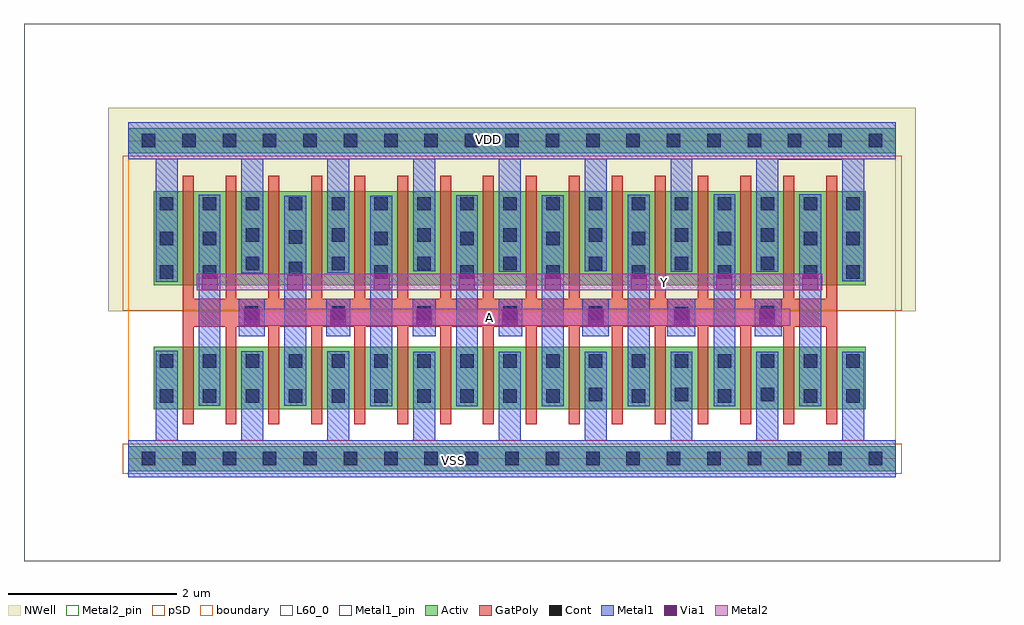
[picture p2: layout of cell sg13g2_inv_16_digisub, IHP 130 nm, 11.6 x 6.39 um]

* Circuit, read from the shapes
.subckt sg13g2_inv_16_digisub A VDD VSS Y
XM1 Y A VSS VSS sg13_lv_nmos w=0.74u l=0.13u m=16
XM2 Y A VDD VDD sg13_lv_pmos w=1.12u l=0.13u m=16
.ends

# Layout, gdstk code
import gdstk
lib = gdstk.Library(unit=1e-6, precision=1e-09)
def R(c, l, rs):  # rectangles x0, y0, x1, y1
    for r in rs: c.add(gdstk.rectangle(r[:2], r[2:], *l))
def A(c, l, x, y, w, h, nx, ny, dx, dy):  # array of equal rectangles
    R(c, l, [(x+i*dx, y+j*dy, x+i*dx+w, y+j*dy+h) for i in range(nx) for j in range(ny)])
def P(c, l, *ps):  # polygons
    for p in ps: c.add(gdstk.Polygon(p, *l))
Activ = (1, 0)
GatPoly = (5, 0)
Cont = (6, 0)
Metal1 = (8, 0)
Metal1_pin = (8, 2)
Metal2 = (10, 0)
Metal2_pin = (10, 2)
pSD = (14, 0)
Via1 = (19, 0)
NWell = (31, 0)
L60_0 = (60, 0)
boundary = (189, 4)

sg13g2_inv_16_digisub = lib.new_cell('sg13g2_inv_16_digisub')
R(sg13g2_inv_16_digisub, Activ, [(0,-0.15,9.12,0.15), (0.305,0.59,8.765,1.33), (0.305,2.06,8.765,3.18), (0,3.63,9.12,3.93)])
P(sg13g2_inv_16_digisub, GatPoly, [(8.425,3.36),(8.295,3.36),(8.295,1.9),(7.915,1.9),(7.915,3.36),(7.785,3.36),(7.785,1.9),(7.405,1.9),(7.405,3.36),(7.275,3.36),(7.275,1.9),(6.895,1.9),(6.895,3.36),(6.765,3.36),(6.765,1.9),(6.385,1.9),(6.385,3.36),(6.255,3.36),(6.255,1.9),(5.875,1.9),(5.875,3.36),(5.745,3.36),(5.745,1.9),(5.365,1.9),(5.365,3.36),(5.235,3.36),(5.235,1.9),(4.855,1.9),(4.855,3.36),(4.725,3.36),(4.725,1.9),(4.345,1.9),(4.345,3.36),(4.215,3.36),(4.215,1.9),(3.835,1.9),(3.835,3.36),(3.705,3.36),(3.705,1.9),(3.325,1.9),(3.325,3.36),(3.195,3.36),(3.195,1.9),(2.815,1.9),(2.815,3.36),(2.685,3.36),(2.685,1.9),(2.305,1.9),(2.305,3.36),(2.175,3.36),(2.175,1.9),(1.795,1.9),(1.795,3.36),(1.665,3.36),(1.665,1.9),(1.285,1.9),(1.285,3.36),(1.155,3.36),(1.155,1.9),(0.775,1.9),(0.775,3.36),(0.645,3.36),(0.645,0.41),(0.775,0.41),(0.775,1.57),(1.155,1.57),(1.155,0.41),(1.285,0.41),(1.285,1.57),(1.665,1.57),(1.665,0.41),(1.795,0.41),(1.795,1.57),(2.175,1.57),(2.175,0.41),(2.305,0.41),(2.305,1.57),(2.685,1.57),(2.685,0.41),(2.815,0.41),(2.815,1.57),(3.195,1.57),(3.195,0.41),(3.325,0.41),(3.325,1.57),(3.705,1.57),(3.705,0.41),(3.835,0.41),(3.835,1.57),(4.215,1.57),(4.215,0.41),(4.345,0.41),(4.345,1.57),(4.725,1.57),(4.725,0.41),(4.855,0.41),(4.855,1.57),(5.235,1.57),(5.235,0.41),(5.365,0.41),(5.365,1.57),(5.745,1.57),(5.745,0.41),(5.875,0.41),(5.875,1.57),(6.255,1.57),(6.255,0.41),(6.385,0.41),(6.385,1.57),(6.765,1.57),(6.765,0.41),(6.895,0.41),(6.895,1.57),(7.275,1.57),(7.275,0.41),(7.405,0.41),(7.405,1.57),(7.785,1.57),(7.785,0.41),(7.915,0.41),(7.915,1.57),(8.295,1.57),(8.295,0.41),(8.425,0.41)])
A(sg13g2_inv_16_digisub, Cont, 0.375, 0.665, 0.16, 0.16, 10, 1, 0.51, 0)
A(sg13g2_inv_16_digisub, Cont, 5.985, 0.665, 0.16, 0.16, 3, 1, 1.02, 0)
A(sg13g2_inv_16_digisub, Cont, 5.475, 0.68, 0.16, 0.16, 3, 1, 1.02, 0)
A(sg13g2_inv_16_digisub, Cont, 0.375, 1.08, 0.16, 0.16, 17, 2, 0.51, 1.87)
A(sg13g2_inv_16_digisub, Cont, 2.415, 1.65, 0.16, 0.16, 4, 1, 1.02, 0)
A(sg13g2_inv_16_digisub, Cont, 2.925, 2.14, 0.16, 0.16, 6, 2, 1.02, 0.395)
A(sg13g2_inv_16_digisub, Cont, 1.395, 2.24, 0.16, 0.16, 7, 2, 1.02, 0.34)
R(sg13g2_inv_16_digisub, Cont, [(0.16,-0.08,0.32,0.08), (0.16,-0.08,0.32,0.08), (0.64,-0.08,0.8,0.08), (0.64,-0.08,0.8,0.08), (1.12,-0.08,1.28,0.08), (1.12,-0.08,1.28,0.08), (1.6,-0.08,1.76,0.08), (1.6,-0.08,1.76,0.08), (2.08,-0.08,2.24,0.08), (2.08,-0.08,2.24,0.08), (2.56,-0.08,2.72,0.08), (2.56,-0.08,2.72,0.08), (3.04,-0.08,3.2,0.08), (3.04,-0.08,3.2,0.08), (3.52,-0.08,3.68,0.08), (3.52,-0.08,3.68,0.08), (4,-0.08,4.16,0.08), (4,-0.08,4.16,0.08), (4.48,-0.08,4.64,0.08), (4.48,-0.08,4.64,0.08), (4.96,-0.08,5.12,0.08), (4.96,-0.08,5.12,0.08), (5.44,-0.08,5.6,0.08), (5.44,-0.08,5.6,0.08), (5.92,-0.08,6.08,0.08), (5.92,-0.08,6.08,0.08), (6.4,-0.08,6.56,0.08), (6.4,-0.08,6.56,0.08), (6.88,-0.08,7.04,0.08), (6.88,-0.08,7.04,0.08), (7.36,-0.08,7.52,0.08), (7.36,-0.08,7.52,0.08), (7.84,-0.08,8,0.08), (7.84,-0.08,8,0.08), (8.32,-0.08,8.48,0.08), (8.32,-0.08,8.48,0.08), (8.8,-0.08,8.96,0.08), (8.8,-0.08,8.96,0.08), (8.535,0.665,8.695,0.825), (6.495,1.645,6.655,1.805), (1.385,1.65,1.545,1.81), (7.515,1.655,7.675,1.815), (0.375,2.14,0.535,2.3), (0.885,2.14,1.045,2.3), (8.535,2.14,8.695,2.3), (1.905,2.18,2.065,2.34), (0.375,2.535,0.535,2.695), (0.885,2.535,1.045,2.695), (8.535,2.535,8.695,2.695), (1.905,2.555,2.065,2.715), (0.16,3.7,0.32,3.86), (0.16,3.7,0.32,3.86), (0.64,3.7,0.8,3.86), (0.64,3.7,0.8,3.86), (1.12,3.7,1.28,3.86), (1.12,3.7,1.28,3.86), (1.6,3.7,1.76,3.86), (1.6,3.7,1.76,3.86), (2.08,3.7,2.24,3.86), (2.08,3.7,2.24,3.86), (2.56,3.7,2.72,3.86), (2.56,3.7,2.72,3.86), (3.04,3.7,3.2,3.86), (3.04,3.7,3.2,3.86), (3.52,3.7,3.68,3.86), (3.52,3.7,3.68,3.86), (4,3.7,4.16,3.86), (4,3.7,4.16,3.86), (4.48,3.7,4.64,3.86), (4.48,3.7,4.64,3.86), (4.96,3.7,5.12,3.86), (4.96,3.7,5.12,3.86), (5.44,3.7,5.6,3.86), (5.44,3.7,5.6,3.86), (5.92,3.7,6.08,3.86), (5.92,3.7,6.08,3.86), (6.4,3.7,6.56,3.86), (6.4,3.7,6.56,3.86), (6.88,3.7,7.04,3.86), (6.88,3.7,7.04,3.86), (7.36,3.7,7.52,3.86), (7.36,3.7,7.52,3.86), (7.84,3.7,8,3.86), (7.84,3.7,8,3.86), (8.32,3.7,8.48,3.86), (8.32,3.7,8.48,3.86), (8.8,3.7,8.96,3.86), (8.8,3.7,8.96,3.86)])
R(sg13g2_inv_16_digisub, Metal1, [(2.875,0.625,3.135,3.125), (3.895,0.625,4.155,3.13), (4.915,0.625,5.175,3.13), (5.935,0.625,6.195,3.135), (6.955,0.625,7.215,3.14), (7.975,0.625,8.235,3.14), (0.835,0.63,1.095,3.135), (1.855,0.63,2.115,3.125), (1.31,1.455,1.62,1.9), (2.35,1.455,2.64,1.9), (3.38,1.455,3.655,1.9), (4.4,1.455,4.68,1.9), (5.395,1.455,5.71,1.9), (6.405,1.455,6.74,1.9), (7.445,1.455,7.765,1.9)])
P(sg13g2_inv_16_digisub, Metal1, [(9.12,0.22),(8.745,0.22),(8.745,1.27),(8.485,1.27),(8.485,0.22),(7.725,0.22),(7.725,1.27),(7.465,1.27),(7.465,0.22),(6.705,0.22),(6.705,1.27),(6.445,1.27),(6.445,0.22),(5.685,0.22),(5.685,1.27),(5.425,1.27),(5.425,0.22),(4.665,0.22),(4.665,1.27),(4.405,1.27),(4.405,0.22),(3.645,0.22),(3.645,1.27),(3.385,1.27),(3.385,0.22),(2.625,0.22),(2.625,1.275),(2.365,1.275),(2.365,0.22),(1.605,0.22),(1.605,1.275),(1.345,1.275),(1.345,0.22),(0.585,0.22),(0.585,1.28),(0.325,1.28),(0.325,0.22),(0,0.22),(0,-0.22),(9.12,-0.22)],
  [(9.12,4),(0,4),(0,3.56),(0.325,3.56),(0.325,2.105),(0.585,2.105),(0.585,3.56),(1.345,3.56),(1.345,2.205),(1.605,2.205),(1.605,3.56),(2.365,3.56),(2.365,2.21),(2.625,2.21),(2.625,3.56),(3.385,3.56),(3.385,2.225),(3.645,2.225),(3.645,3.56),(4.405,3.56),(4.405,2.22),(4.665,2.22),(4.665,3.56),(5.425,3.56),(5.425,2.23),(5.685,2.23),(5.685,3.56),(6.445,3.56),(6.445,2.22),(6.705,2.22),(6.705,3.56),(7.465,3.56),(7.465,2.22),(7.725,2.22),(7.725,3.555),(8.485,3.555),(8.485,2.11),(8.745,2.11),(8.745,3.56),(9.12,3.56)])
R(sg13g2_inv_16_digisub, Metal1_pin, [(0,-0.22,9.12,0.22), (0,3.56,9.12,4)])
R(sg13g2_inv_16_digisub, Metal2, [(1.31,1.58,7.865,1.78), (0.815,2,8.25,2.2)])
R(sg13g2_inv_16_digisub, Metal2_pin, [(1.31,1.58,7.865,1.78), (0.815,2,8.25,2.2)])
R(sg13g2_inv_16_digisub, pSD, [(-0.065,-0.18,9.19,0.18), (-0.065,1.76,9.19,3.6)])
A(sg13g2_inv_16_digisub, Via1, 2.4, 1.585, 0.19, 0.19, 6, 1, 1.02, 0)
A(sg13g2_inv_16_digisub, Via1, 3.93, 2.005, 0.19, 0.19, 5, 1, 1.02, 0)
R(sg13g2_inv_16_digisub, Via1, [(1.37,1.585,1.56,1.775), (0.87,2.005,1.06,2.195), (1.89,2.005,2.08,2.195), (2.915,2.005,3.105,2.195)])
R(sg13g2_inv_16_digisub, NWell, [(-0.24,1.75,9.36,4.17)])
R(sg13g2_inv_16_digisub, L60_0, [(-1.24,-1.22,10.36,5.17)])
R(sg13g2_inv_16_digisub, boundary, [(0,0,9.12,3.78)])
sg13g2_inv_16_digisub.add(gdstk.Label('VSS', (3.86,-0.025), layer=8, texttype=25))
sg13g2_inv_16_digisub.add(gdstk.Label('VDD', (4.28,3.795), layer=8, texttype=25))
sg13g2_inv_16_digisub.add(gdstk.Label('A', (4.29,1.68), layer=10, texttype=25))
sg13g2_inv_16_digisub.add(gdstk.Label('Y', (6.375,2.09), layer=10, texttype=25))

lib.write_gds('sg13g2_inv_16_digisub.gds')
